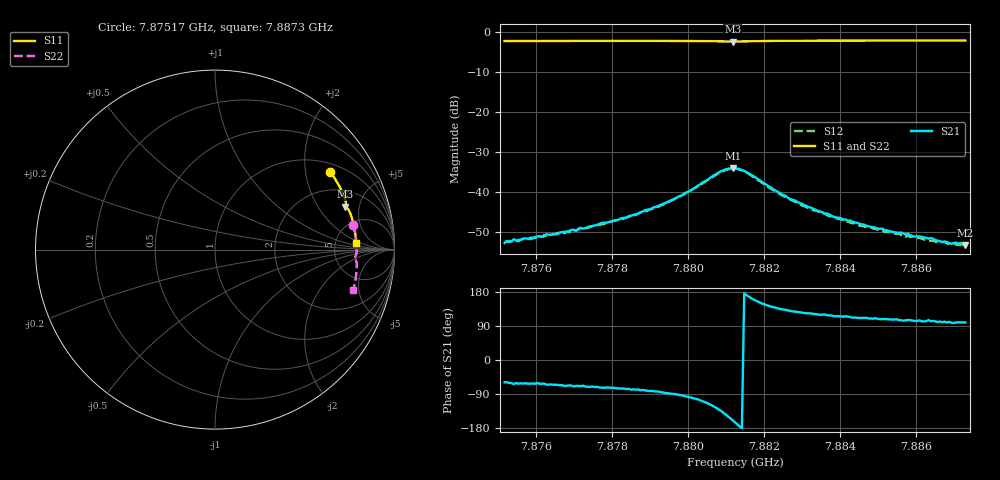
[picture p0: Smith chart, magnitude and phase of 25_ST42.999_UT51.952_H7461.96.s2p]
#  HZ  S  DB  R  50.00
! Rohde & Schwarz Vector Network Analyzer
! Rohde-Schwarz,ZNB20-2Port,1311601062101988,3.16
! Created: UTC 1/12/2023, 6:30:57 PM
! freq[Hz]  db:S11  ang:S11  db:S21  ang:S21  db:S12  ang:S12  db:S22  ang:S22
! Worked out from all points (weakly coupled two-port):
!   201 points, 7.87517 GHz to 7.8873 GHz, reference 50 ohm
!   highest |S21| = -34.04 dB at 7.88118 GHz (marker M1); lowest = -53.3 dB at 7.8873 GHz (marker M2)
!   lowest |S11| = -2.3 dB at 7.88118 GHz (marker M3), VSWR 7.47, Z = 157 + j180 ohm
!   |S11| at or under -10 dB: nowhere
!   |S22| runs from -2.2 to -1.9 dB; largest |S21 - S12| = 0.0013
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7.875172e9  -2.22 34.1  -52.83 -58.8  -52.58 -64.9  -2.13 10.1
7.875415e9  -2.22 33.4  -51.87 -63.4  -52.48 -62.8  -2.12 9.6
7.875839e9  -2.21 32.3  -51.88 -62.7  -51.57 -66.9  -2.11 8.5
7.876203e9  -2.21 31.3  -51.27 -61.8  -50.92 -67.3  -2.11 7.7
7.876264e9  -2.20 31.1  -50.68 -64.5  -51.00 -67.4  -2.10 7.5
7.876567e9  -2.20 30.3  -50.60 -65.6  -50.33 -68.5  -2.10 6.9
7.877234e9  -2.20 28.4  -49.25 -67.7  -49.18 -72.5  -2.08 5.3
7.878205e9  -2.18 25.8  -46.82 -75.5  -47.06 -77.3  -2.05 3.1
7.879236e9  -2.18 22.9  -43.47 -83.8  -43.68 -87.4  -2.05 0.6
7.880025e9  -2.20 20.7  -39.92 -97.9  -40.04 -101.3  -2.06 -1.3
7.880874e9  -2.30 18.5  -34.85 -134.8  -35.04 -138.4  -2.17 -3.2
7.881177e9  -2.34 18.2  -34.04 -159.5  -34.22 -162.9  -2.21 -3.3
7.881238e9  -2.34 18.2  -34.12 -164.6  -34.27 -168.1  -2.21 -3.3
7.88148e9  -2.30 18.0  -34.76 175.5  -34.89 171.7  -2.17 -3.4
7.882633e9  -2.15 15.0  -41.53 130.9  -41.61 127.5  -2.01 -5.8
7.8833e9  -2.13 13.1  -44.25 121.9  -44.66 117.9  -1.98 -7.4
7.883906e9  -2.12 11.5  -46.50 115.9  -46.64 113.6  -1.96 -8.8
7.885301e9  -2.09 7.8  -49.89 107.3  -50.09 103.8  -1.93 -11.9
7.885726e9  -2.09 6.7  -50.77 104.4  -51.25 102.3  -1.93 -12.9
7.885787e9  -2.09 6.5  -50.49 105.3  -51.03 100.8  -1.93 -13.0
7.885969e9  -2.09 6.0  -51.24 103.0  -51.47 101.0  -1.92 -13.4
7.887303e9  -2.08 2.5  -53.35 98.9  -53.64 96.7  -1.92 -16.3
